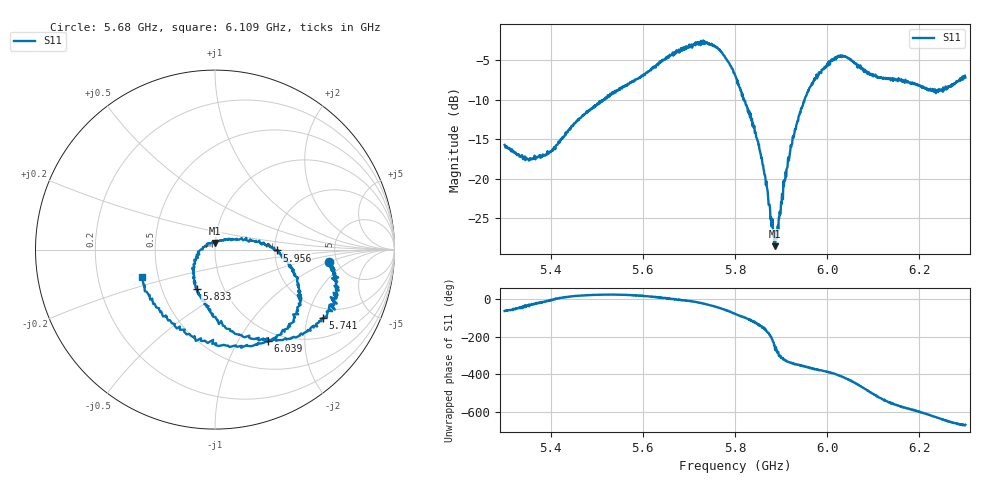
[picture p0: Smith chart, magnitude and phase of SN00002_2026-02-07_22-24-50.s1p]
! NanoVNA-App
! Date: 2026-02-07 22:25:06
! Start: 5,3GHz Stop: 6,3GHz Points: 1001
! S-Parameter data: F S11
# Hz S RI R 50
!  Frequency  S11_Real  S11_Imag
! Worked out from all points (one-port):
!   1001 points, 5.3 GHz to 6.3 GHz, reference 50 ohm
!   lowest |S11| = -28.5 dB at 5.887 GHz (marker M1), VSWR 1.08, Z = 49.9 + j3.76 ohm
!   |S11| at or under -10 dB: start of sweep to 5.515 GHz; 5.516577 GHz to 5.517363 GHz (786.6 kHz wide, 0.0143 % of centre); 5.819 GHz to 5.951 GHz (131.5 MHz wide, 2.23 % of centre)
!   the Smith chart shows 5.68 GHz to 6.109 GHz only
!   S11 on the Smith chart (normalised r, x): 5.68 GHz: 4.29, -1.03; 5.741 GHz: 1.62, -2.52; 5.833 GHz: 0.74, -0.35; 5.956 GHz: 2.05, -0.02; 6.039 GHz: 0.87, -1.35; 6.109 GHz: 0.41, -0.15
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5.3e9  0.0681 -0.1488
5.357e9  0.1116 -0.0711
5.425e9  0.178 0.0174
5.55e9  0.3402 0.1281
5.623e9  0.4899 0.0883
5.675e9  0.6341 -0.0653
5.68e9  0.6355 -0.0711
5.718e9  0.6772 -0.2374
5.741e9  0.6028 -0.3812
5.772e9  0.3697 -0.5037
5.8e9  0.084 -0.4433
5.833e9  -0.1029 -0.2211
5.856e9  -0.1161 -0.082
5.882e9  -0.0367 0.0358
5.887e9  0.000504 0.0376
5.892e9  0.0136 0.0466
5.925e9  0.1716 0.0614
5.956e9  0.3443 -0.00465
6.007e9  0.4729 -0.2833
6.023e9  0.4406 -0.4006
6.039e9  0.297 -0.5078
6.05e9  0.178 -0.5356
6.075e9  -0.1354 -0.4788
6.109e9  -0.4049 -0.1544
6.144e9  -0.4049 0.1291
6.175e9  -0.3219 0.2598
6.241e9  -0.000561 0.3527
6.3e9  0.2551 0.3523
